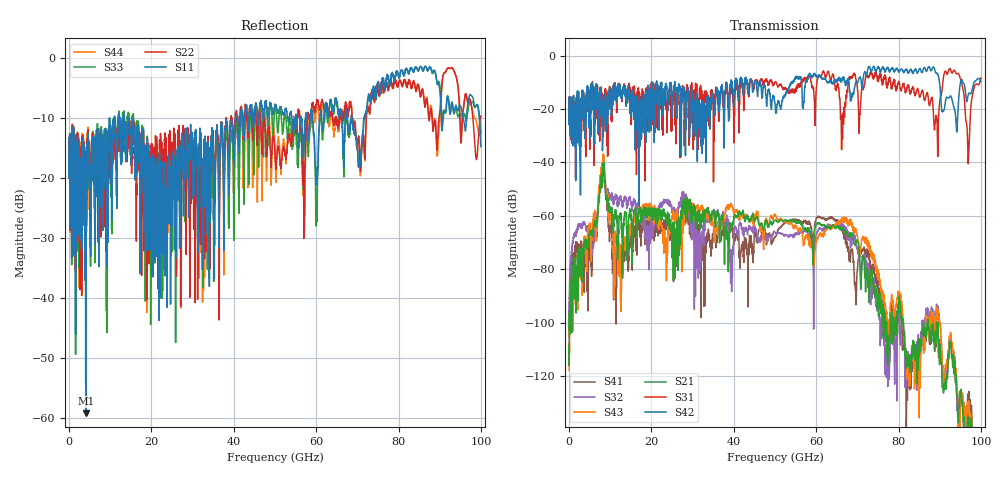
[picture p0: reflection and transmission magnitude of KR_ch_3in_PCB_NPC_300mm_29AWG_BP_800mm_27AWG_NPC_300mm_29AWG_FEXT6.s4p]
# GHz S RI R 45
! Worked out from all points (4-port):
!   4000 points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, 25 MHz to 100 GHz, reference 45 ohm
!   strongest paths, dB at 25 MHz, 25.02 GHz, 50.02 GHz, 75.03 GHz, 100 GHz:
!     S42: -20.6, -18.0, -18.0, -4.3, -9.8
!     S31: -20.6, -21.5, -10.2, -8.8, -8.4
!     S21: -108.7, -70.3, -61.7, -91.6, -164.3
!     S43: -117.9, -60.8, -59.6, -81.9, -159.1
!     S32: -98.4, -58.7, -66.1, -95.5, -174.7
!     S41: -105.3, -67.6, -68.1, -85.5, -158.2
!   lowest |S11| = -59.2 dB at 4.075 GHz (marker M1), VSWR 1.00, Z = 45 - j0.099 ohm
!   |S11| at or under -10 dB: start of sweep to 9.824 GHz; 14.45 GHz to 40.62 GHz (26.16 GHz wide, 95 % of centre); 68.66 GHz to 71.57 GHz (2.914 GHz wide, 4.16 % of centre) (the widest 3 of 35)
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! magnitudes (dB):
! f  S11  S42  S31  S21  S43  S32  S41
! 25 MHz  -16.1  -20.6  -20.6  -108.7  -117.9  -98.4  -105.3
! 4.075 GHz  -59.2  -25.8  -37.9  -69.3  -70.1  -64.6  -72.9
! 8.2 GHz  -17.8  -26.6  -22.6  -42.3  -38.4  -40.8  -39.8
! 12.32 GHz  -10.7  -12.6  -12.2  -60.0  -75.9  -53.2  -76.2
! 39.1 GHz  -12.4  -10.9  -13.2  -65.5  -56.0  -73.7  -64.2
! 96.88 GHz  -7.5  -15.0  -38.3  -139.4  -134.7  -144.0  -131.0
! 100 GHz  -14.8  -9.8  -8.4  -164.3  -159.1  -174.7  -158.2
